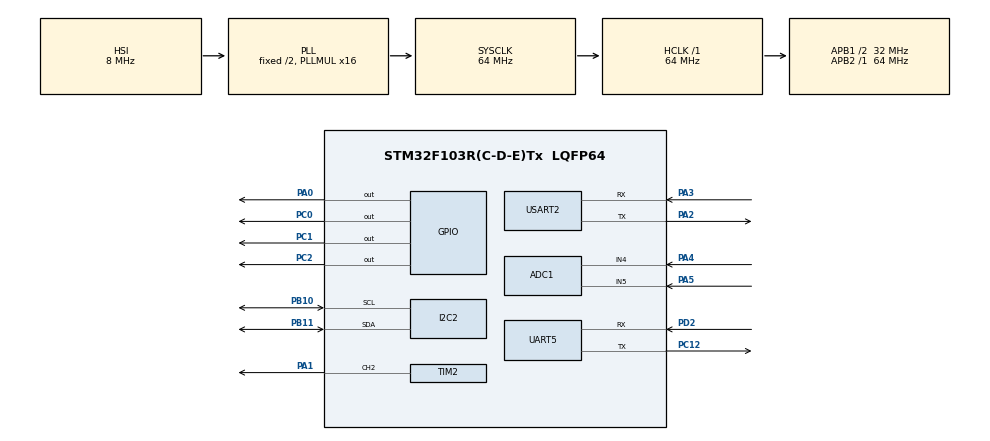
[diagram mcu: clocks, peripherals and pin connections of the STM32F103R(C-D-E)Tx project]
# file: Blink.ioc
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ADC1.Channel-18\#ChannelRegularConversion=ADC_CHANNEL_4
ADC1.Channel-19\#ChannelRegularConversion=ADC_CHANNEL_5
ADC1.ContinuousConvMode=DISABLE
ADC1.ExternalTrigConv=ADC_SOFTWARE_START
ADC1.NbrOfConversion=2
ADC1.NbrOfConversionFlag=1
ADC1.Rank-18\#ChannelRegularConversion=1
ADC1.Rank-19\#ChannelRegularConversion=2
ADC1.SamplingTime-18\#ChannelRegularConversion=ADC_SAMPLETIME_1CYCLE_5
ADC1.SamplingTime-19\#ChannelRegularConversion=ADC_SAMPLETIME_1CYCLE_5
ADC1.master=1
Dma.ADC1.0.Direction=DMA_PERIPH_TO_MEMORY
Dma.ADC1.0.Instance=DMA1_Channel1
Dma.ADC1.0.MemDataAlignment=DMA_MDATAALIGN_HALFWORD
Dma.ADC1.0.MemInc=DMA_MINC_ENABLE
Dma.ADC1.0.Mode=DMA_CIRCULAR
Dma.ADC1.0.PeriphDataAlignment=DMA_PDATAALIGN_HALFWORD
Dma.ADC1.0.PeriphInc=DMA_PINC_DISABLE
Dma.ADC1.0.Priority=DMA_PRIORITY_LOW
Dma.Request0=ADC1
FREERTOS.Tasks01=defaultTask,0,128,StartDefaultTask,Default,NULL,Dynamic,NULL,NULL;myTask02,-3,128,StartTask02,Default,NULL,Dynamic,NULL,NULL
Mcu.Family=STM32F1
Mcu.Name=STM32F103R(C-D-E)Tx
Mcu.Package=LQFP64
NVIC.DMA1_Channel1_IRQn=true\:5\:0\:false\:false\:true\:true\:false
NVIC.PriorityGroup=NVIC_PRIORITYGROUP_4
NVIC.TIM4_IRQn=true\:5\:0\:false\:false\:true\:true\:true
NVIC.UART5_IRQn=true\:5\:0\:false\:false\:true\:true\:true
NVIC.USART2_IRQn=true\:5\:0\:false\:false\:true\:true\:true
PA0-WKUP.Signal=GPIO_Output
PA1.Signal=S_TIM2_CH2
PA2.Mode=Asynchronous
PA2.Signal=USART2_TX
PA3.Mode=Asynchronous
PA3.Signal=USART2_RX
PA4.Signal=ADCx_IN4
PA5.Signal=ADCx_IN5
PB10.Mode=I2C
PB10.Signal=I2C2_SCL
PB11.Mode=I2C
PB11.Signal=I2C2_SDA
PC0.Signal=GPIO_Output
PC1.Signal=GPIO_Output
PC12.Mode=Asynchronous
PC12.Signal=UART5_TX
PC2.Signal=GPIO_Output
PD2.Mode=Asynchronous
PD2.Signal=UART5_RX
ProjectManager.HeapSize=0x200
ProjectManager.StackSize=0x400
ProjectManager.TargetToolchain=MDK-ARM V5
RCC.ADCPresc=RCC_ADCPCLK2_DIV8
RCC.AHBFreq_Value=64000000
RCC.APB1CLKDivider=RCC_HCLK_DIV2
RCC.APB1Freq_Value=32000000
RCC.APB1TimFreq_Value=64000000
RCC.APB2Freq_Value=64000000
RCC.APB2TimFreq_Value=64000000
RCC.HCLKFreq_Value=64000000
RCC.HSEDivPLL=RCC_HSE_PREDIV_DIV2
RCC.HSE_VALUE=16000000
RCC.PLLMUL=RCC_PLL_MUL16
RCC.SYSCLKFreq_VALUE=64000000
RCC.SYSCLKSource=RCC_SYSCLKSOURCE_PLLCLK
RCC.USBFreq_Value=64000000
SH.ADCx_IN4.0=ADC1_IN4,IN4
SH.ADCx_IN5.0=ADC1_IN5,IN5
SH.S_TIM2_CH2.0=TIM2_CH2,PWM Generation2 CH2
TIM2.Channel-PWM\ Generation2\ CH2=TIM_CHANNEL_2
TIM2.Prescaler=24
TIM4.Period=50
TIM4.Prescaler=72
UART5.VirtualMode=Asynchronous
USART2.VirtualMode=VM_ASYNC
VP_FREERTOS_VS_ENABLE.Mode=Enabled
VP_SYS_VS_ND.Mode=No_Debug
VP_TIM2_VS_ClockSourceINT.Mode=Internal
VP_TIM4_VS_ClockSourceINT.Mode=Internal
board=custom

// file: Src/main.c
/* USER CODE BEGIN Header */
/**
  * @brief  Function implementing the defaultTask thread.
  * @param  argument: Not used
  * @retval None
  */
/* USER CODE END Header */

#include "main.h"
#include "cmsis_os.h"

/* USER CODE BEGIN Includes */
#include "ssd1306.h"
#include "math.h"
#include <stdio.h>
#include <string.h>
/* USER CODE END Includes */

ADC_HandleTypeDef hadc1;
DMA_HandleTypeDef hdma_adc1;

I2C_HandleTypeDef hi2c2;

TIM_HandleTypeDef htim2;
TIM_HandleTypeDef htim4;

UART_HandleTypeDef huart5;
UART_HandleTypeDef huart2;

osThreadId defaultTaskHandle;
osThreadId myTask02Handle;
/* USER CODE BEGIN PV */

typedef struct { float Vin; // Input: Sine Signal
float SampleFreq; // Input: Signal Sampling Freq
// Input: Voltage level corresponding to zero i/p
float Threshold;
float Vrms; // Output: RMS Value
float Vavg; // Output: Average Value
float SigFreq; // Output: Signal Freq
int ZCD; // Output: Zero Cross detected
float PositiveCycle; // Output: Positive cycle
// internal variables
float Vacc_avg ;
float Vacc_rms ;
// normalized value of current sample
float curr_sample_norm;
int prev_sign ;
int curr_sign ;
// samples in half cycle input waveform
int nsamples ;
float inv_nsamples;
float inv_sqrt_nsamples;
} SineAnalyzer;
#define SineAnalyzer_DEFAULTS { 		0,							\
		0,					\
		1.503,					\
		0,							\
		0,							\
		0,						\
		0,							\
		0,				\
		0,						\
		0,						\
		0,				\
		1,					\
		1,					\
		0,						\
		0,					\
		0			\
}
float VrmsReal=0, Vfreq=0, VrmsOut=0, prev_Vrms=0 ;
int max_sample=0;
SineAnalyzer sine_mainsV = SineAnalyzer_DEFAULTS;
SineAnalyzer sine_mainsI = SineAnalyzer_DEFAULTS;
/* USER CODE END PV */

void SystemClock_Config(void);
static void MX_GPIO_Init(void);
static void MX_DMA_Init(void);
static void MX_ADC1_Init(void);
static void MX_UART5_Init(void);
static void MX_TIM2_Init(void);
static void MX_I2C2_Init(void);
static void MX_USART2_UART_Init(void);
static void MX_TIM4_Init(void);
void StartDefaultTask(void const * argument);
void StartTask02(void const * argument);

/* USER CODE BEGIN PFP */
int PWM_DUTY = 100;
uint16_t adc_value[2], U_count=0, U_step=0;
char res[10];
/* USER CODE END PFP */

/* USER CODE BEGIN 0 */
#ifdef __GNUC__
  /* With GCC/RAISONANCE, small printf (option LD Linker->Libraries->Small printf
     set to 'Yes') calls __io_putchar() */
  #define PUTCHAR_PROTOTYPE int __io_putchar(int ch)
#else
  #define PUTCHAR_PROTOTYPE int fputc(int ch, FILE *f)
  #define GETCHAR_PROTOTYPE int fgetc(FILE *f)
#endif /* __GNUC__ */
	PUTCHAR_PROTOTYPE
{
  /* Place your implementation of fputc here */
  /* e.g. write a character to the USART */
	HAL_UART_Transmit(&huart5, (uint8_t*)&ch,1,100);
  return ch;
}
void HAL_TIM_PeriodElapsedCallback(TIM_HandleTypeDef *htim)
{
	if(htim->Instance == TIM4)
	{
		//HAL_GPIO_TogglePin(GPIOC, GPIO_PIN_1);
		HAL_ADC_Start_DMA(&hadc1, (uint32_t*)&adc_value, 2);
		for(int i=0;i<15;i++);
		HAL_ADC_Stop_DMA(&hadc1);
		//for(int i=0;i<15;i++);
		sine_mainsV.Vin = adc_value[0]*3.3/4096.0;//voltage
		sine_mainsI.Vin = adc_value[1]*3.3/4096.0;//voltage
//if(tmp_flag==0){
		if ( sine_mainsV.Vin > sine_mainsV.Threshold)
	{
		sine_mainsV.curr_sample_norm = sine_mainsV.Vin - sine_mainsV.Threshold;
		//sine_mainsV.curr_sample_norm = sine_mainsV.Vin;
		sine_mainsV.curr_sign = 1;
	}
	else
	{
		sine_mainsV.curr_sample_norm =  sine_mainsV.Threshold - sine_mainsV.Vin;
		//sine_mainsV.curr_sample_norm = sine_mainsV.Vin;
		sine_mainsV.curr_sign = 0;
	}
	sine_mainsV.PositiveCycle = sine_mainsV.curr_sign;

	if((sine_mainsV.prev_sign != sine_mainsV.curr_sign) && (sine_mainsV.curr_sign == 1))
	{
    	//tmp_flag=1;
		sine_mainsV.ZCD=1;
		sine_mainsV.inv_nsamples = 1.0/sine_mainsV.nsamples;
		sine_mainsV.inv_sqrt_nsamples = 1.0/sqrt(sine_mainsV.nsamples);
		sine_mainsV.Vavg = sine_mainsV.Vacc_avg*sine_mainsV.inv_nsamples;
		sine_mainsV.Vrms = sqrt(sine_mainsV.Vacc_rms)*sine_mainsV.inv_sqrt_nsamples ;
		sine_mainsV.SigFreq = sine_mainsV.SampleFreq*sine_mainsV.inv_nsamples;
		sine_mainsV.prev_sign = sine_mainsV.curr_sign;

		if(U_count<50){U_count++;VrmsReal=sine_mainsV.Vrms;}
		else{
		if(((prev_Vrms-sine_mainsV.Vrms)<0.0282)||((sine_mainsV.Vrms-prev_Vrms)<0.0282))
		{
			//VrmsReal=	sine_mainsV.Vrms	+VrmsReal;
			VrmsOut=0.005*sine_mainsV.Vrms+0.995*VrmsReal;
			VrmsReal=VrmsOut;
		}
		//if(U_count==50){
		//	VrmsOut=VrmsReal/U_step;
		//	VrmsReal=0;
		//	U_count=0;
		//	U_step=0;
		//}
		}
		prev_Vrms=sine_mainsV.Vrms;
		sine_mainsV.Vacc_avg = 0;
		sine_mainsV.Vacc_rms = 0;
		sine_mainsV.nsamples=0;
	}
	else
	{
		sine_mainsV.nsamples++;
		sine_mainsV.Vacc_avg = sine_mainsV.Vacc_avg+sine_mainsV.curr_sample_norm;
		sine_mainsV.Vacc_rms = sine_mainsV.Vacc_rms+sine_mainsV.curr_sample_norm*sine_mainsV.curr_sample_norm;
		sine_mainsV.ZCD=0;
		sine_mainsV.prev_sign = sine_mainsV.curr_sign;
	}
//}
}
	}
// Reverses a string 'str' of length 'len'
void reverse(char* str, int len)
{
    int i = 0, j = len - 1, temp;
    while (i < j) {
        temp = str[i];
        str[i] = str[j];
        str[j] = temp;
        i++;
        j--;
    }
}

// Converts a given integer x to string str[].
// d is the number of digits required in the output.
// If d is more than the number of digits in x,
// then 0s are added at the beginning.
int intToStr(int x, char str[], int d)
{
    int i = 0;
    while (x) {
        str[i++] = (x % 10) + '0';
        x = x / 10;
    }

    // If number of digits required is more, then
    // add 0s at the beginning
    while (i < d)
        str[i++] = '0';

    reverse(str, i);
    str[i] = '\0';
    return i;
}

// Converts a floating-point/double number to a string.
void ftoa(float n, char* res, int afterpoint)
{
    // Extract integer part
    int ipart = (int)n;

    // Extract floating part
    float fpart = n - (float)ipart;

    // convert integer part to string
    int i = intToStr(ipart, res, 0);

    // check for display option after point
    if (afterpoint != 0) {
        res[i] = '.'; // add dot

        // Get the value of fraction part upto given no.
        // of points after dot. The third parameter
        // is needed to handle cases like 233.007
        fpart = fpart * pow(10, afterpoint);

        intToStr((int)fpart, res + i + 1, afterpoint);
    }
}

/* USER CODE END 0 */

int main(void)
{

  /* MCU Configuration--------------------------------------------------------*/

  /* Reset of all peripherals, Initializes the Flash interface and the Systick. */
  HAL_Init();

  /* Configure the system clock */
  SystemClock_Config();

  /* Initialize all configured peripherals */
  MX_GPIO_Init();
  MX_DMA_Init();
  MX_ADC1_Init();
  MX_UART5_Init();
  MX_TIM2_Init();
  MX_I2C2_Init();
  MX_USART2_UART_Init();
  MX_TIM4_Init();
  /* USER CODE BEGIN 2 */
	ssd1306_Init();
  HAL_Delay(1000);
  ssd1306_Fill(White);
  ssd1306_UpdateScreen();

  HAL_Delay(1000);

  ssd1306_SetCursor(17,2);
  ssd1306_WriteString("Lora Meter",Font_11x18,Black);
	ssd1306_SetCursor(0,20);
  ssd1306_WriteString("V=",Font_11x18,Black);
	ssd1306_SetCursor(0,40);
  ssd1306_WriteString("I=",Font_11x18,Black);
  ssd1306_UpdateScreen();
	HAL_TIM_PWM_Start(&htim2, TIM_CHANNEL_2);
	HAL_TIM_Base_Start_IT(&htim4);

  /* USER CODE END 2 */

  /* Create the thread(s) */
  /* definition and creation of defaultTask */
  osThreadDef(defaultTask, StartDefaultTask, osPriorityNormal, 0, 128);
  defaultTaskHandle = osThreadCreate(osThread(defaultTask), NULL);

  /* definition and creation of myTask02 */
  osThreadDef(myTask02, StartTask02, osPriorityIdle, 0, 128);
  myTask02Handle = osThreadCreate(osThread(myTask02), NULL);

  /* USER CODE BEGIN RTOS_QUEUES */
	//ON LED DRIVER
  HAL_GPIO_WritePin(GPIOC, GPIO_PIN_0, GPIO_PIN_SET);

  /* USER CODE END RTOS_QUEUES */

  /* Start scheduler */
  osKernelStart();

  /* We should never get here as control is now taken by the scheduler */

  /* Infinite loop */
  while (1)
  {

  }
}

void SystemClock_Config(void)
{
  RCC_OscInitTypeDef RCC_OscInitStruct = {0};
  RCC_ClkInitTypeDef RCC_ClkInitStruct = {0};
  RCC_PeriphCLKInitTypeDef PeriphClkInit = {0};

  /**Initializes the CPU, AHB and APB busses clocks
  */
  RCC_OscInitStruct.OscillatorType = RCC_OSCILLATORTYPE_HSI;
  RCC_OscInitStruct.HSIState = RCC_HSI_ON;
  RCC_OscInitStruct.HSICalibrationValue = RCC_HSICALIBRATION_DEFAULT;
  RCC_OscInitStruct.PLL.PLLState = RCC_PLL_ON;
  RCC_OscInitStruct.PLL.PLLSource = RCC_PLLSOURCE_HSI_DIV2;
  RCC_OscInitStruct.PLL.PLLMUL = RCC_PLL_MUL16;
  if (HAL_RCC_OscConfig(&RCC_OscInitStruct) != HAL_OK)
  {
    Error_Handler();
  }
  /**Initializes the CPU, AHB and APB busses clocks
  */
  RCC_ClkInitStruct.ClockType = RCC_CLOCKTYPE_HCLK|RCC_CLOCKTYPE_SYSCLK
                              |RCC_CLOCKTYPE_PCLK1|RCC_CLOCKTYPE_PCLK2;
  RCC_ClkInitStruct.SYSCLKSource = RCC_SYSCLKSOURCE_PLLCLK;
  RCC_ClkInitStruct.AHBCLKDivider = RCC_SYSCLK_DIV1;
  RCC_ClkInitStruct.APB1CLKDivider = RCC_HCLK_DIV2;
  RCC_ClkInitStruct.APB2CLKDivider = RCC_HCLK_DIV1;

  if (HAL_RCC_ClockConfig(&RCC_ClkInitStruct, FLASH_LATENCY_2) != HAL_OK)
  {
    Error_Handler();
  }
  PeriphClkInit.PeriphClockSelection = RCC_PERIPHCLK_ADC;
  PeriphClkInit.AdcClockSelection = RCC_ADCPCLK2_DIV8;
  if (HAL_RCCEx_PeriphCLKConfig(&PeriphClkInit) != HAL_OK)
  {
    Error_Handler();
  }
}

static void MX_ADC1_Init(void)
{

  ADC_ChannelConfTypeDef sConfig = {0};

  /**Common config
  */
  hadc1.Instance = ADC1;
  hadc1.Init.ScanConvMode = ADC_SCAN_ENABLE;
  hadc1.Init.ContinuousConvMode = DISABLE;
  hadc1.Init.DiscontinuousConvMode = DISABLE;
  hadc1.Init.ExternalTrigConv = ADC_SOFTWARE_START;
  hadc1.Init.DataAlign = ADC_DATAALIGN_RIGHT;
  hadc1.Init.NbrOfConversion = 2;
  if (HAL_ADC_Init(&hadc1) != HAL_OK)
  {
    Error_Handler();
  }
  /**Configure Regular Channel
  */
  sConfig.Channel = ADC_CHANNEL_4;
  sConfig.Rank = ADC_REGULAR_RANK_1;
  sConfig.SamplingTime = ADC_SAMPLETIME_1CYCLE_5;
  if (HAL_ADC_ConfigChannel(&hadc1, &sConfig) != HAL_OK)
  {
    Error_Handler();
  }
  /**Configure Regular Channel
  */
  sConfig.Channel = ADC_CHANNEL_5;
  sConfig.Rank = ADC_REGULAR_RANK_2;
  if (HAL_ADC_ConfigChannel(&hadc1, &sConfig) != HAL_OK)
  {
    Error_Handler();
  }

}

static void MX_I2C2_Init(void)
{

  hi2c2.Instance = I2C2;
  hi2c2.Init.ClockSpeed = 100000;
  hi2c2.Init.DutyCycle = I2C_DUTYCYCLE_2;
  hi2c2.Init.OwnAddress1 = 0;
  hi2c2.Init.AddressingMode = I2C_ADDRESSINGMODE_7BIT;
  hi2c2.Init.DualAddressMode = I2C_DUALADDRESS_DISABLE;
  hi2c2.Init.OwnAddress2 = 0;
  hi2c2.Init.GeneralCallMode = I2C_GENERALCALL_DISABLE;
  hi2c2.Init.NoStretchMode = I2C_NOSTRETCH_DISABLE;
  if (HAL_I2C_Init(&hi2c2) != HAL_OK)
  {
    Error_Handler();
  }

}

static void MX_TIM2_Init(void)
{

  TIM_ClockConfigTypeDef sClockSourceConfig = {0};
  TIM_MasterConfigTypeDef sMasterConfig = {0};
  TIM_OC_InitTypeDef sConfigOC = {0};

  htim2.Instance = TIM2;
  htim2.Init.Prescaler = 64;
  htim2.Init.CounterMode = TIM_COUNTERMODE_UP;
  htim2.Init.Period = 1000;
  htim2.Init.ClockDivision = TIM_CLOCKDIVISION_DIV1;
  htim2.Init.AutoReloadPreload = TIM_AUTORELOAD_PRELOAD_DISABLE;
  if (HAL_TIM_Base_Init(&htim2) != HAL_OK)
  {
    Error_Handler();
  }
  sClockSourceConfig.ClockSource = TIM_CLOCKSOURCE_INTERNAL;
  if (HAL_TIM_ConfigClockSource(&htim2, &sClockSourceConfig) != HAL_OK)
  {
    Error_Handler();
  }
  if (HAL_TIM_PWM_Init(&htim2) != HAL_OK)
  {
    Error_Handler();
  }
  sMasterConfig.MasterOutputTrigger = TIM_TRGO_RESET;
  sMasterConfig.MasterSlaveMode = TIM_MASTERSLAVEMODE_DISABLE;
  if (HAL_TIMEx_MasterConfigSynchronization(&htim2, &sMasterConfig) != HAL_OK)
  {
    Error_Handler();
  }
  sConfigOC.OCMode = TIM_OCMODE_PWM1;
  sConfigOC.Pulse = 0;
  sConfigOC.OCPolarity = TIM_OCPOLARITY_HIGH;
  sConfigOC.OCFastMode = TIM_OCFAST_DISABLE;
  if (HAL_TIM_PWM_ConfigChannel(&htim2, &sConfigOC, TIM_CHANNEL_2) != HAL_OK)
  {
    Error_Handler();
  }
  HAL_TIM_MspPostInit(&htim2);

}

static void MX_TIM4_Init(void)
{

  TIM_ClockConfigTypeDef sClockSourceConfig = {0};
  TIM_MasterConfigTypeDef sMasterConfig = {0};

  htim4.Instance = TIM4;
  htim4.Init.Prescaler = 64;
  htim4.Init.CounterMode = TIM_COUNTERMODE_UP;
  htim4.Init.Period = 200;
  htim4.Init.ClockDivision = TIM_CLOCKDIVISION_DIV1;
  htim4.Init.AutoReloadPreload = TIM_AUTORELOAD_PRELOAD_DISABLE;
  if (HAL_TIM_Base_Init(&htim4) != HAL_OK)
  {
    Error_Handler();
  }
  sClockSourceConfig.ClockSource = TIM_CLOCKSOURCE_INTERNAL;
  if (HAL_TIM_ConfigClockSource(&htim4, &sClockSourceConfig) != HAL_OK)
  {
    Error_Handler();
  }
  sMasterConfig.MasterOutputTrigger = TIM_TRGO_RESET;
  sMasterConfig.MasterSlaveMode = TIM_MASTERSLAVEMODE_DISABLE;
  if (HAL_TIMEx_MasterConfigSynchronization(&htim4, &sMasterConfig) != HAL_OK)
  {
    Error_Handler();
  }

}

static void MX_UART5_Init(void)
{

  huart5.Instance = UART5;
  huart5.Init.BaudRate = 115200;
  huart5.Init.WordLength = UART_WORDLENGTH_8B;
  huart5.Init.StopBits = UART_STOPBITS_1;
  huart5.Init.Parity = UART_PARITY_NONE;
  huart5.Init.Mode = UART_MODE_TX_RX;
  huart5.Init.HwFlowCtl = UART_HWCONTROL_NONE;
  huart5.Init.OverSampling = UART_OVERSAMPLING_16;
  if (HAL_UART_Init(&huart5) != HAL_OK)
  {
    Error_Handler();
  }

}

static void MX_USART2_UART_Init(void)
{

  huart2.Instance = USART2;
  huart2.Init.BaudRate = 115200;
  huart2.Init.WordLength = UART_WORDLENGTH_8B;
  huart2.Init.StopBits = UART_STOPBITS_1;
  huart2.Init.Parity = UART_PARITY_NONE;
  huart2.Init.Mode = UART_MODE_TX_RX;
  huart2.Init.HwFlowCtl = UART_HWCONTROL_NONE;
  huart2.Init.OverSampling = UART_OVERSAMPLING_16;
  if (HAL_UART_Init(&huart2) != HAL_OK)
  {
    Error_Handler();
  }

}

static void MX_DMA_Init(void)
{
  /* DMA controller clock enable */
  __HAL_RCC_DMA1_CLK_ENABLE();

  /* DMA interrupt init */
  /* DMA1_Channel1_IRQn interrupt configuration */
  HAL_NVIC_SetPriority(DMA1_Channel1_IRQn, 5, 0);
  HAL_NVIC_EnableIRQ(DMA1_Channel1_IRQn);

}

static void MX_GPIO_Init(void)
{
  GPIO_InitTypeDef GPIO_InitStruct = {0};

  /* GPIO Ports Clock Enable */
  __HAL_RCC_GPIOC_CLK_ENABLE();
  __HAL_RCC_GPIOA_CLK_ENABLE();
  __HAL_RCC_GPIOB_CLK_ENABLE();
  __HAL_RCC_GPIOD_CLK_ENABLE();

  /*Configure GPIO pin Output Level */
  HAL_GPIO_WritePin(GPIOC, GPIO_PIN_0|GPIO_PIN_1|GPIO_PIN_2, GPIO_PIN_RESET);

  /*Configure GPIO pin Output Level */
  HAL_GPIO_WritePin(GPIOA, GPIO_PIN_0, GPIO_PIN_RESET);

  /*Configure GPIO pins : PC0 PC1 PC2 */
  GPIO_InitStruct.Pin = GPIO_PIN_0|GPIO_PIN_1|GPIO_PIN_2;
  GPIO_InitStruct.Mode = GPIO_MODE_OUTPUT_PP;
  GPIO_InitStruct.Pull = GPIO_NOPULL;
  GPIO_InitStruct.Speed = GPIO_SPEED_FREQ_LOW;
  HAL_GPIO_Init(GPIOC, &GPIO_InitStruct);

  /*Configure GPIO pin : PA0 */
  GPIO_InitStruct.Pin = GPIO_PIN_0;
  GPIO_InitStruct.Mode = GPIO_MODE_OUTPUT_PP;
  GPIO_InitStruct.Pull = GPIO_NOPULL;
  GPIO_InitStruct.Speed = GPIO_SPEED_FREQ_LOW;
  HAL_GPIO_Init(GPIOA, &GPIO_InitStruct);

}

void StartDefaultTask(void const * argument)
{

  /* USER CODE BEGIN 5 */
  /* Infinite loop */
	//sine analyzer initialization
sine_mainsV.Vin=0;
sine_mainsV.SampleFreq=5000; // Sampling rate 10KHz
//sine_mainsV.Threshold=0.02; // Threshold set to 0.02
  for(;;)
  {
		//if(tmp_flag==1){

		VrmsOut = VrmsOut*811.9;
		Vfreq=sine_mainsV.SigFreq;
		ftoa(VrmsOut, res, 1);
		printf("Vrms = %s\n",res);
		//printf("sample=%d, Freq=%.2f\r\n", sine_mainsV.nsamples, Vfreq);
		//printf("Thershold=%f, Vin = %f\r\n\n", sine_mainsV.Threshold, sine_mainsV.Vin);
		ssd1306_SetCursor(30,20);
    ssd1306_WriteString(res,Font_11x18,Black);
		ssd1306_SetCursor(30,40);
    ssd1306_WriteString("720",Font_11x18,Black);
    ssd1306_UpdateScreen();
		HAL_GPIO_TogglePin(GPIOC, GPIO_PIN_2);
    osDelay(1500);
  }
  /* USER CODE END 5 */
}

void StartTask02(void const * argument)
{
  /* USER CODE BEGIN StartTask02 */
  /* Infinite loop */
  for(;;)
  {
		//HAL_GPIO_TogglePin(GPIOC, GPIO_PIN_2);
		HAL_GPIO_TogglePin(GPIOC, GPIO_PIN_1);
		//HAL_GPIO_TogglePin(GPIOC, GPIO_PIN_2);
		//HAL_GPIO_TogglePin(GPIOA, GPIO_PIN_1);
		//HAL_GPIO_TogglePin(GPIOA, GPIO_PIN_2);
		//HAL_GPIO_TogglePin(GPIOA, GPIO_PIN_3);
		//__HAL_TIM_SET_COMPARE(&htim2, TIM_CHANNEL_2, PWM_DUTY);
		//HAL_ADC_Start_DMA(&hadc1, (uint32_t*)&adc_value, 2);
		//osDelay(12);
		//HAL_ADC_Stop_DMA(&hadc1);
		//printf("ADC4 value = %d, ADC5 value=%d\r\n", adc_value[0], adc_value[1]);
		//adc_f4=adc_value[0]*100.01/4096.0;//voltage
		//adc_f5=adc_value[1]*49.01/4096.0;//current

    osDelay(500);
  }
  /* USER CODE END StartTask02 */
}

void Error_Handler(void)
{
}

/************************ (C) COPYRIGHT STMicroelectronics *****END OF FILE****/
